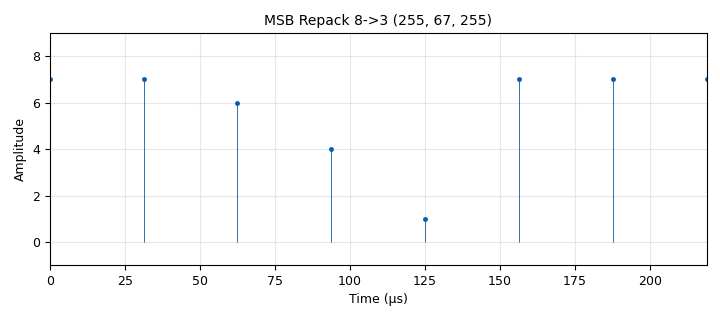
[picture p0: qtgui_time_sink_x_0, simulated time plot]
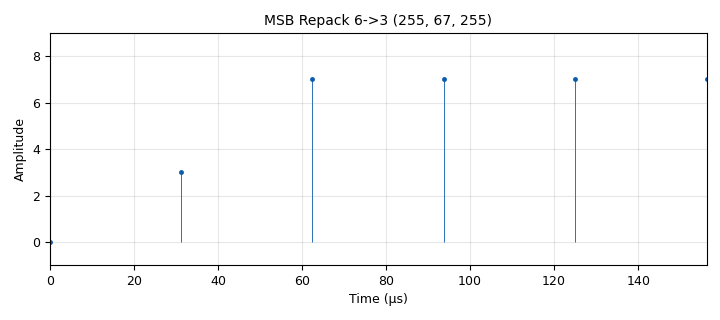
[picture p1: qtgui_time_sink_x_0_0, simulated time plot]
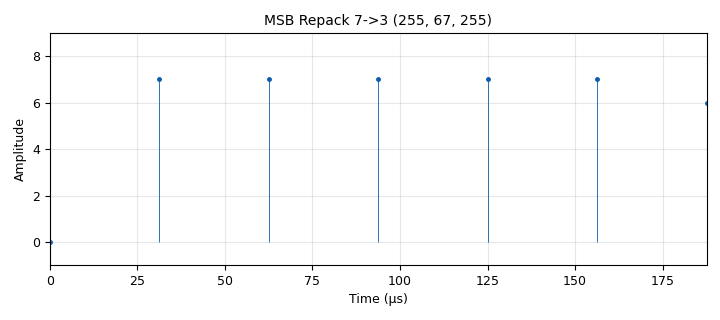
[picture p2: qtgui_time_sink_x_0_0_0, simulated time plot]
<?xml version='1.0' encoding='utf-8'?>
<?grc format='1' created='3.7.11'?>
<flow_graph>
<block>
<key>options</key>
<param><key>id</key><value>top_block</value></param>
<param><key>generate_options</key><value>qt_gui</value></param>
</block>
<block>
<key>variable</key>
<param><key>id</key><value>samp_rate</value></param>
<param><key>value</key><value>32000</value></param>
</block>
<block>
<key>blocks_repack_bits_bb</key>
<param><key>id</key><value>blocks_repack_bits_bb_0</value></param>
<param><key>k</key><value>8</value></param>
<param><key>l</key><value>3</value></param>
<param><key>endianness</key><value>gr.GR_MSB_FIRST</value></param>
<param><key>align_output</key><value>True</value></param>
</block>
<block>
<key>blocks_repack_bits_bb</key>
<param><key>id</key><value>blocks_repack_bits_bb_0_0</value></param>
<param><key>k</key><value>6</value></param>
<param><key>l</key><value>3</value></param>
<param><key>endianness</key><value>gr.GR_MSB_FIRST</value></param>
<param><key>align_output</key><value>True</value></param>
</block>
<block>
<key>blocks_repack_bits_bb</key>
<param><key>id</key><value>blocks_repack_bits_bb_0_0_0</value></param>
<param><key>k</key><value>7</value></param>
<param><key>l</key><value>3</value></param>
<param><key>endianness</key><value>gr.GR_MSB_FIRST</value></param>
<param><key>align_output</key><value>True</value></param>
</block>
<block>
<key>blocks_throttle</key>
<param><key>id</key><value>blocks_throttle_0</value></param>
<param><key>samples_per_second</key><value>samp_rate</value></param>
<param><key>type</key><value>byte</value></param>
</block>
<block>
<key>blocks_throttle</key>
<param><key>id</key><value>blocks_throttle_0_0</value></param>
<param><key>samples_per_second</key><value>samp_rate</value></param>
<param><key>type</key><value>byte</value></param>
</block>
<block>
<key>blocks_throttle</key>
<param><key>id</key><value>blocks_throttle_0_0_0</value></param>
<param><key>samples_per_second</key><value>samp_rate</value></param>
<param><key>type</key><value>byte</value></param>
</block>
<block>
<key>blocks_uchar_to_float</key>
<param><key>id</key><value>blocks_uchar_to_float_0</value></param>
</block>
<block>
<key>blocks_uchar_to_float</key>
<param><key>id</key><value>blocks_uchar_to_float_0_0</value></param>
</block>
<block>
<key>blocks_uchar_to_float</key>
<param><key>id</key><value>blocks_uchar_to_float_0_0_0</value></param>
</block>
<block>
<key>blocks_vector_source_x</key>
<param><key>id</key><value>blocks_vector_source_x_0</value></param>
<param><key>type</key><value>byte</value></param>
<param><key>repeat</key><value>True</value></param>
<param><key>vector</key><value>(255, 67, 255)</value></param>
</block>
<block>
<key>blocks_vector_source_x</key>
<param><key>id</key><value>blocks_vector_source_x_0_0</value></param>
<param><key>type</key><value>byte</value></param>
<param><key>repeat</key><value>True</value></param>
<param><key>vector</key><value>(255, 67, 255)</value></param>
</block>
<block>
<key>blocks_vector_source_x</key>
<param><key>id</key><value>blocks_vector_source_x_0_0_0</value></param>
<param><key>type</key><value>byte</value></param>
<param><key>repeat</key><value>True</value></param>
<param><key>vector</key><value>(255, 67, 255)</value></param>
</block>
<block>
<key>note</key>
<param><key>id</key><value>note_0</value></param>
<param><key>comment</key><value>Não há perda de bits com o bloco Repack se usado "corretamente".
A menos que você considere que o seu byte de entrada só tem k bits de informação.
Ver documentação = file:///usr/share/doc/gnuradio-doc/html/classgr_1_1blocks_1_1repack__bits__bb.htm.
Possivelmente usar junto com o Hamming Encoder/Decoder que está feito usando bits.</value></param>
</block>
<block>
<key>qtgui_time_sink_x</key>
<param><key>id</key><value>qtgui_time_sink_x_0</value></param>
<param><key>color1</key><value>"blue"</value></param>
<param><key>label1</key><value></value></param>
<param><key>marker1</key><value>0</value></param>
<param><key>style1</key><value>2</value></param>
<param><key>name</key><value>"MSB Repack 8-&gt;3 (255, 67, 255)"</value></param>
<param><key>size</key><value>8</value></param>
<param><key>srate</key><value>samp_rate</value></param>
<param><key>stemplot</key><value>True</value></param>
<param><key>type</key><value>float</value></param>
<param><key>ymax</key><value>9</value></param>
</block>
<block>
<key>qtgui_time_sink_x</key>
<param><key>id</key><value>qtgui_time_sink_x_0_0</value></param>
<param><key>color1</key><value>"blue"</value></param>
<param><key>label1</key><value></value></param>
<param><key>marker1</key><value>0</value></param>
<param><key>style1</key><value>2</value></param>
<param><key>name</key><value>"MSB Repack 6-&gt;3 (255, 67, 255)"</value></param>
<param><key>size</key><value>6</value></param>
<param><key>srate</key><value>samp_rate</value></param>
<param><key>stemplot</key><value>True</value></param>
<param><key>type</key><value>float</value></param>
<param><key>ymax</key><value>9</value></param>
</block>
<block>
<key>qtgui_time_sink_x</key>
<param><key>id</key><value>qtgui_time_sink_x_0_0_0</value></param>
<param><key>color1</key><value>"blue"</value></param>
<param><key>label1</key><value></value></param>
<param><key>marker1</key><value>0</value></param>
<param><key>style1</key><value>2</value></param>
<param><key>name</key><value>"MSB Repack 7-&gt;3 (255, 67, 255)"</value></param>
<param><key>size</key><value>7</value></param>
<param><key>srate</key><value>samp_rate</value></param>
<param><key>stemplot</key><value>True</value></param>
<param><key>type</key><value>float</value></param>
<param><key>ymax</key><value>9</value></param>
</block>
<connection><source_block_id>blocks_repack_bits_bb_0</source_block_id><sink_block_id>blocks_uchar_to_float_0</sink_block_id><source_key>0</source_key><sink_key>0</sink_key></connection>
<connection><source_block_id>blocks_repack_bits_bb_0_0</source_block_id><sink_block_id>blocks_uchar_to_float_0_0</sink_block_id><source_key>0</source_key><sink_key>0</sink_key></connection>
<connection><source_block_id>blocks_repack_bits_bb_0_0_0</source_block_id><sink_block_id>blocks_uchar_to_float_0_0_0</sink_block_id><source_key>0</source_key><sink_key>0</sink_key></connection>
<connection><source_block_id>blocks_throttle_0</source_block_id><sink_block_id>blocks_repack_bits_bb_0</sink_block_id><source_key>0</source_key><sink_key>0</sink_key></connection>
<connection><source_block_id>blocks_throttle_0_0</source_block_id><sink_block_id>blocks_repack_bits_bb_0_0</sink_block_id><source_key>0</source_key><sink_key>0</sink_key></connection>
<connection><source_block_id>blocks_throttle_0_0_0</source_block_id><sink_block_id>blocks_repack_bits_bb_0_0_0</sink_block_id><source_key>0</source_key><sink_key>0</sink_key></connection>
<connection><source_block_id>blocks_uchar_to_float_0</source_block_id><sink_block_id>qtgui_time_sink_x_0</sink_block_id><source_key>0</source_key><sink_key>0</sink_key></connection>
<connection><source_block_id>blocks_uchar_to_float_0_0</source_block_id><sink_block_id>qtgui_time_sink_x_0_0</sink_block_id><source_key>0</source_key><sink_key>0</sink_key></connection>
<connection><source_block_id>blocks_uchar_to_float_0_0_0</source_block_id><sink_block_id>qtgui_time_sink_x_0_0_0</sink_block_id><source_key>0</source_key><sink_key>0</sink_key></connection>
<connection><source_block_id>blocks_vector_source_x_0</source_block_id><sink_block_id>blocks_throttle_0</sink_block_id><source_key>0</source_key><sink_key>0</sink_key></connection>
<connection><source_block_id>blocks_vector_source_x_0_0</source_block_id><sink_block_id>blocks_throttle_0_0</sink_block_id><source_key>0</source_key><sink_key>0</sink_key></connection>
<connection><source_block_id>blocks_vector_source_x_0_0_0</source_block_id><sink_block_id>blocks_throttle_0_0_0</sink_block_id><source_key>0</source_key><sink_key>0</sink_key></connection>
</flow_graph>
